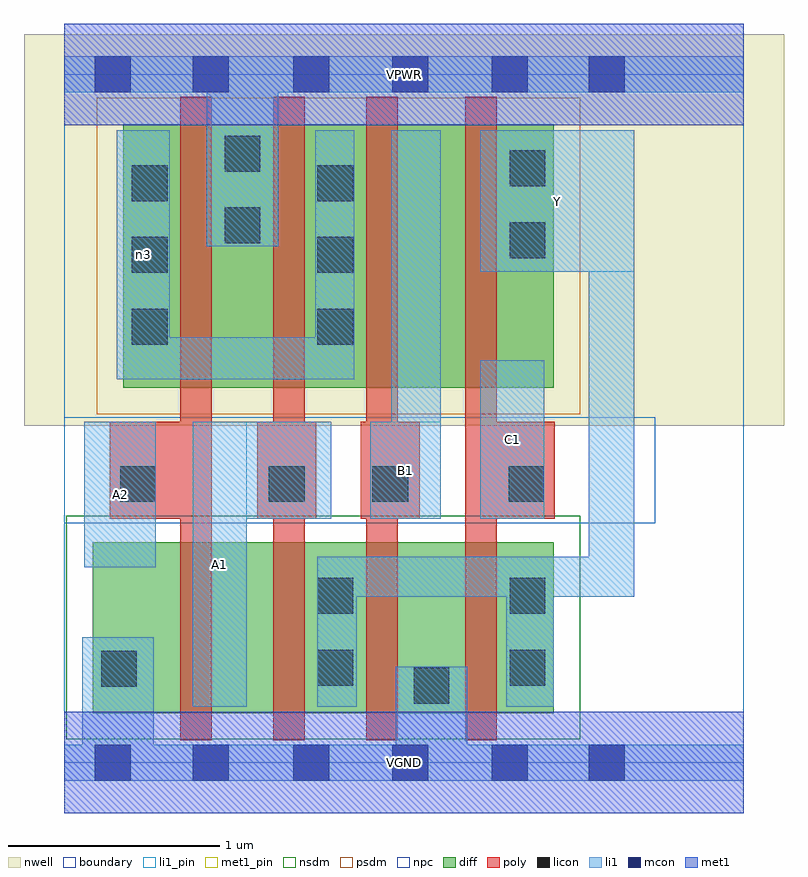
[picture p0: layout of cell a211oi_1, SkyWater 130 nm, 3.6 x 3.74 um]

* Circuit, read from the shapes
.subckt a211oi_1 A1 A2 B1 C1 VGND VPWR Y n3
XM1 n1 A2 VGND VSUBS sky130_fd_pr__nfet_01v8 w=0.81 l=0.15
XM2 Y A1 n1 VSUBS sky130_fd_pr__nfet_01v8 w=0.81 l=0.15
XM3 VGND B1 Y VSUBS sky130_fd_pr__nfet_01v8 w=0.81 l=0.15
XM4 Y C1 VGND VSUBS sky130_fd_pr__nfet_01v8 w=0.81 l=0.15
XM5 VPWR A2 n3 n2 sky130_fd_pr__pfet_01v8 w=1.25 l=0.15
XM6 n3 A1 VPWR n2 sky130_fd_pr__pfet_01v8 w=1.25 l=0.15
XM7 n4 B1 n3 n2 sky130_fd_pr__pfet_01v8 w=1.25 l=0.15
XM8 Y C1 n4 n2 sky130_fd_pr__pfet_01v8 w=1.25 l=0.15
.ends

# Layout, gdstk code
import gdstk
lib = gdstk.Library(unit=1e-6, precision=1e-09)
def R(c, l, rs):  # rectangles x0, y0, x1, y1
    for r in rs: c.add(gdstk.rectangle(r[:2], r[2:], *l))
def A(c, l, x, y, w, h, nx, ny, dx, dy):  # array of equal rectangles
    R(c, l, [(x+i*dx, y+j*dy, x+i*dx+w, y+j*dy+h) for i in range(nx) for j in range(ny)])
nwell = (64, 20)
diff = (65, 20)
poly = (66, 20)
licon = (66, 44)
li1_pin = (67, 16)
li1 = (67, 20)
mcon = (67, 44)
met1_pin = (68, 16)
met1 = (68, 20)
nsdm = (93, 44)
psdm = (94, 20)
npc = (95, 20)
boundary = (235, 4)

a211oi_1 = lib.new_cell('a211oi_1')
R(a211oi_1, nwell, [(-0.19,1.595,3.41,3.45), (0,1.595,3.22,3.45)])
R(a211oi_1, diff, [(0.135,0.235,2.32,1.045), (0.28,1.775,2.32,3.025)])
A(a211oi_1, poly, 0.55, 0.105, 0.15, 3.05, 3, 1, 0.44, 0)
R(a211oi_1, poly, [(1.9,0.105,2.05,3.155), (0.215,1.155,0.7,1.615), (0.915,1.155,1.195,1.615), (1.405,1.155,1.685,1.615), (1.9,1.155,2.325,1.615)])
A(a211oi_1, licon, 0.32, 1.98, 0.17, 0.17, 1, 3, 0, 0.34)
A(a211oi_1, licon, 1.2, 1.98, 0.17, 0.17, 1, 3, 0, 0.34)
R(a211oi_1, licon, [(1.655,0.28,1.825,0.45), (0.175,0.36,0.345,0.53), (1.2,0.365,1.37,0.535), (2.11,0.365,2.28,0.535), (1.2,0.705,1.37,0.875), (2.11,0.705,2.28,0.875), (0.265,1.235,0.435,1.405), (0.97,1.235,1.14,1.405), (1.46,1.235,1.63,1.405), (2.105,1.235,2.275,1.405), (2.11,2.39,2.28,2.56), (0.76,2.46,0.93,2.63), (2.11,2.73,2.28,2.9), (0.76,2.8,0.93,2.97)])
R(a211oi_1, li1_pin, [(0.61,0.265,0.865,1.615), (0.095,0.925,0.435,1.615), (1.45,1.155,1.785,1.615), (1.97,1.155,2.275,1.905), (1.97,2.325,2.7,2.995)])
R(a211oi_1, li1, [(0,-0.085,3.22,0.085), (0.085,-0.085,0.425,0.595), (1.57,-0.085,1.91,0.455), (0.61,0.265,0.865,1.615), (1.2,0.265,1.385,0.975), (2.095,0.265,2.32,0.975), (1.2,0.785,2.7,0.975), (2.485,0.785,2.7,2.995), (0.095,0.925,0.435,1.615), (0.61,1.155,1.265,1.615), (1.45,1.155,1.785,1.615), (1.55,1.155,1.785,2.995), (1.97,1.155,2.275,1.905), (0.25,1.815,0.5,2.995), (0.25,1.815,1.375,2.015), (1.19,1.815,1.375,2.995), (1.97,2.325,2.7,2.995), (0.675,2.445,1.015,3.345), (0,3.175,3.22,3.345)])
A(a211oi_1, mcon, 1.085, -0.085, 0.17, 0.17, 3, 2, 0.47, 3.26)
R(a211oi_1, mcon, [(0.145,-0.085,0.315,0.085), (0.61,-0.085,0.78,0.085), (2.485,-0.085,2.655,0.085), (0.145,3.175,0.315,3.345), (0.61,3.175,0.78,3.345), (2.485,3.175,2.655,3.345)])
R(a211oi_1, met1_pin, [(0,-0.24,3.22,0.24), (0,3.02,3.22,3.5)])
R(a211oi_1, met1, [(0,-0.24,3.22,0.24), (0,3.02,3.22,3.5)])
R(a211oi_1, nsdm, [(0.01,0.11,2.445,1.17)])
R(a211oi_1, psdm, [(0.155,1.65,2.445,3.15)])
R(a211oi_1, npc, [(0,1.135,2.8,1.635)])
R(a211oi_1, boundary, [(0,0,3.22,3.26)])
a211oi_1.add(gdstk.Label('A1', (0.737,0.94), layer=67, texttype=5))
a211oi_1.add(gdstk.Label('A2', (0.265,1.27), layer=67, texttype=5))
a211oi_1.add(gdstk.Label('B1', (1.617,1.385), layer=67, texttype=5))
a211oi_1.add(gdstk.Label('C1', (2.122,1.53), layer=67, texttype=5))
a211oi_1.add(gdstk.Label('Y', (2.335,2.66), layer=67, texttype=5))
a211oi_1.add(gdstk.Label('n3', (0.375,2.405), layer=67, texttype=5))
a211oi_1.add(gdstk.Label('VPWR', (1.61,3.26), layer=68, texttype=5))
a211oi_1.add(gdstk.Label('VGND', (1.61,0), layer=68, texttype=5))
a211oi_1.add(gdstk.Label('A1', (0.737,0.94), layer=67, texttype=16))
a211oi_1.add(gdstk.Label('A2', (0.265,1.27), layer=67, texttype=16))
a211oi_1.add(gdstk.Label('B1', (1.617,1.385), layer=67, texttype=16))
a211oi_1.add(gdstk.Label('C1', (2.122,1.53), layer=67, texttype=16))
a211oi_1.add(gdstk.Label('Y', (2.335,2.66), layer=67, texttype=16))
a211oi_1.add(gdstk.Label('VPWR', (1.61,3.26), layer=68, texttype=16))
a211oi_1.add(gdstk.Label('VGND', (1.61,0), layer=68, texttype=16))

lib.write_gds('a211oi_1.gds')
